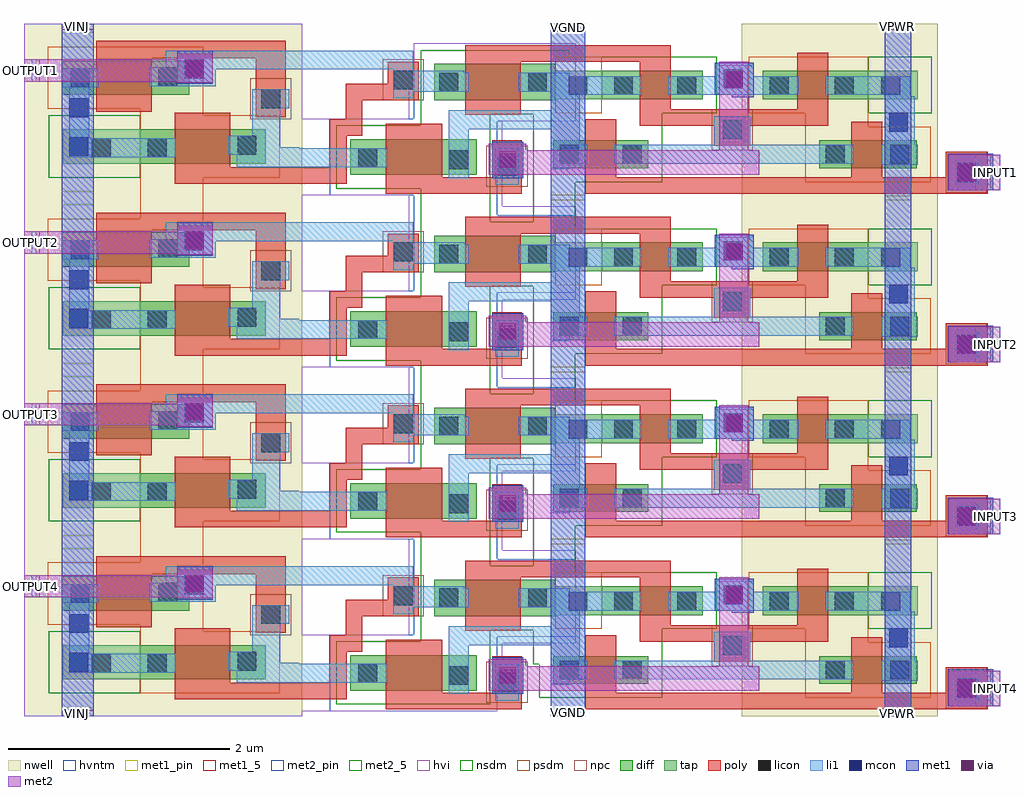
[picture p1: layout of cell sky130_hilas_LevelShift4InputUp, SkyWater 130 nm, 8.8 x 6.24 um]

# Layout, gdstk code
import gdstk
lib = gdstk.Library(unit=1e-6, precision=1e-09)
def R(c, l, rs):  # rectangles x0, y0, x1, y1
    for r in rs: c.add(gdstk.rectangle(r[:2], r[2:], *l))
def A(c, l, x, y, w, h, nx, ny, dx, dy):  # array of equal rectangles
    R(c, l, [(x+i*dx, y+j*dy, x+i*dx+w, y+j*dy+h) for i in range(nx) for j in range(ny)])
nwell = (64, 20)
diff = (65, 20)
tap = (65, 44)
poly = (66, 20)
licon = (66, 44)
li1 = (67, 20)
mcon = (67, 44)
met1_5 = (68, 5)
met1_pin = (68, 16)
met1 = (68, 20)
via = (68, 44)
met2_5 = (69, 5)
met2_pin = (69, 16)
met2 = (69, 20)
hvi = (75, 20)
nsdm = (93, 44)
psdm = (94, 20)
npc = (95, 20)
hvntm = (125, 20)

sky130_hilas_stepupdigit = lib.new_cell('sky130_hilas_StepUpDigitalPart1')
R(sky130_hilas_stepupdigit, nwell, [(6.59,-0.4,8.36,1.19)])
R(sky130_hilas_stepupdigit, diff, [(3.06,-0.17,4.2,0.15), (4.89,-0.11,5.75,0.14), (7.29,-0.11,8.17,0.14), (3.82,0.5,4.91,0.83), (5.33,0.51,6.24,0.77), (6.78,0.51,7.73,0.77)])
R(sky130_hilas_stepupdigit, tap, [(4.91,0.51,5.33,0.77), (7.73,0.51,8.18,0.77)])
R(sky130_hilas_stepupdigit, poly, [(3.38,-0.34,4.61,-0.19), (5.18,-0.34,8.81,-0.19), (2.78,-0.25,3.03,-0.1), (3.38,-0.19,3.89,0.29), (4.34,-0.19,4.61,0.14), (5.18,-0.19,5.46,0.33), (7.58,-0.19,7.86,0.31), (8.43,-0.19,8.81,0.04), (2.87,-0.1,3.03,0.18), (6.34,0.09,6.67,0.27), (2.87,0.18,3.17,0.33), (5.67,0.27,7.37,0.42), (3.02,0.33,3.17,0.5), (4.1,0.37,4.6,0.85), (5.67,0.42,5.95,0.85), (7.09,0.42,7.37,0.93), (3.02,0.5,3.68,0.65), (3.4,0.65,3.68,0.85), (4.1,0.85,5.95,1)])
R(sky130_hilas_stepupdigit, licon, [(8.53,-0.23,8.7,-0.06), (4.39,-0.18,4.56,-0.01), (3.955,-0.12,4.125,0.05), (3.135,-0.1,3.305,0.07), (4.95,-0.07,5.12,0.1), (5.52,-0.07,5.69,0.1), (7.35,-0.07,7.52,0.1), (7.93,-0.07,8.1,0.1), (6.42,0.15,6.59,0.32), (5.03,0.55,5.2,0.72), (5.44,0.55,5.61,0.72), (6.01,0.55,6.18,0.72), (6.845,0.55,7.015,0.72), (7.43,0.55,7.6,0.72), (7.85,0.55,8.02,0.72), (3.865,0.58,4.035,0.75), (4.665,0.58,4.835,0.75), (3.455,0.6,3.625,0.77)])
R(sky130_hilas_stepupdigit, li1, [(8.53,-0.31,8.7,-0.26), (4.37,-0.26,4.58,0.07), (8.51,-0.26,8.73,-0.04), (3.95,-0.2,4.13,0.24), (4.87,-0.12,5.04,-0.07), (2.78,-0.1,3.4,0.07), (7.85,-0.08,8.18,0.1), (4.87,-0.07,5.2,0.1), (5.44,-0.07,7.6,0.1), (8.53,-0.04,8.7,0.02), (4.87,0.1,5.13,0.24), (6.34,0.1,6.67,0.36), (7.88,0.1,8.15,0.54), (3.95,0.24,5.13,0.41), (4.87,0.41,5.13,0.55), (3.45,0.52,3.63,0.58), (7.88,0.54,8.11,0.55), (4.87,0.55,5.69,0.58), (5.93,0.55,7.1,0.72), (7.35,0.55,8.11,0.72), (3.45,0.58,4.13,0.75), (4.58,0.58,5.69,0.72), (4.58,0.72,5.04,0.75), (6.35,0.72,6.7,0.82), (3.45,0.75,4.09,0.77), (3.45,0.77,3.63,0.85)])
R(sky130_hilas_stepupdigit, mcon, [(8.535,-0.235,8.705,-0.065), (7.92,0.22,8.09,0.39), (6.43,0.61,6.6,0.78)])
R(sky130_hilas_stepupdigit, met1_pin, [(4.87,-0.4,5.18,-0.35), (7.88,-0.4,8.12,-0.36), (4.87,1.15,5.18,1.19), (7.88,1.15,8.12,1.19)])
R(sky130_hilas_stepupdigit, met1, [(4.87,-0.4,5.18,1.19), (7.88,-0.4,8.12,1.19), (8.45,-0.31,8.86,0.02), (4.34,-0.2,4.62,0.13), (6.5,0.53,6.7,0.55), (6.35,0.55,6.7,0.84)])
R(sky130_hilas_stepupdigit, via, [(8.545,-0.225,8.695,-0.075), (4.405,-0.105,4.555,0.045), (6.445,0.615,6.595,0.765)])
R(sky130_hilas_stepupdigit, met2_pin, [(8.85,-0.31,8.92,0.01)])
R(sky130_hilas_stepupdigit, met2, [(8.46,-0.31,8.92,0.01), (4.31,-0.17,6.75,0.05), (4.31,0.05,4.65,0.11), (6.39,0.05,6.65,0.85)])
R(sky130_hilas_stepupdigit, hvi, [(2.875,-0.355,4.385,-0.095), (2.875,-0.095,4.43,0.315), (2.875,0.315,5.095,0.335), (3.59,0.335,5.095,0.745), (3.635,0.745,5.095,1.015)])
R(sky130_hilas_stepupdigit, nsdm, [(2.935,-0.295,4.325,0.275), (4.765,-0.235,5.875,0.065), (4.71,0.065,5.875,0.375), (3.695,0.275,4.325,0.375), (3.695,0.375,5.875,0.385), (3.695,0.385,6.365,0.895), (7.73,0.385,8.305,0.895), (3.695,0.895,5.035,0.955)])
R(sky130_hilas_stepupdigit, psdm, [(7.165,-0.235,8.295,0.265), (7.165,0.265,7.73,0.385), (4.91,0.385,5.33,0.895), (6.655,0.385,7.73,0.895)])
R(sky130_hilas_stepupdigit, npc, [(8.43,-0.33,8.8,0.04), (4.29,-0.28,4.66,0.09), (6.32,0.05,6.69,0.42), (3.355,0.5,3.725,0.87)])
R(sky130_hilas_stepupdigit, hvntm, [(2.875,-0.355,4.385,0.315), (2.875,0.315,5.095,0.335), (3.635,0.335,5.095,1.015)])
sky130_hilas_stepupdigit.add(gdstk.Label('Input', (8.885,-0.15), layer=69, texttype=16))
sky130_hilas_stepupdigit.add(gdstk.Label('Vdd', (8,1.17), layer=68, texttype=16))
sky130_hilas_stepupdigit.add(gdstk.Label('Vdd', (8,-0.38), layer=68, texttype=16))
sky130_hilas_stepupdigit.add(gdstk.Label('GND', (5.025,1.17), layer=68, texttype=16))
sky130_hilas_stepupdigit.add(gdstk.Label('GND', (5.025,-0.375), layer=68, texttype=16))

c_sky130_hilas_stepupdigit = lib.new_cell('sky130_hilas_StepUpDigital')
R(c_sky130_hilas_stepupdigit, nwell, [(0.19,-0.4,2.7,1.19)])
R(c_sky130_hilas_stepupdigit, diff, [(1.24,-0.07,2.37,0.24), (0.53,0.55,1.68,0.86)])
R(c_sky130_hilas_stepupdigit, tap, [(0.54,-0.07,1.24,0.24)])
R(c_sky130_hilas_stepupdigit, poly, [(1.55,-0.25,2.85,-0.1), (1.55,-0.1,2.05,0.39), (2.28,0.35,2.55,0.88), (0.84,0.4,1.34,0.88), (0.84,0.88,2.55,1.04)])
R(c_sky130_hilas_stepupdigit, licon, [(0.8,-0.01,0.97,0.16), (1.305,-0.01,1.475,0.16), (2.115,0.01,2.285,0.18), (2.33,0.43,2.5,0.6), (0.61,0.62,0.78,0.79), (1.4,0.63,1.57,0.8)])
R(c_sky130_hilas_stepupdigit, li1, [(2.11,-0.1,2.85,0.01), (0.6,-0.01,1.56,0.16), (2.03,0.01,2.85,0.07), (2.03,0.07,2.67,0.08), (2.03,0.08,2.5,0.18), (0.6,0.16,0.78,0.62), (2.25,0.18,2.5,0.43), (2.25,0.43,2.58,0.6), (0.53,0.62,0.86,0.79), (1.32,0.63,1.92,0.78), (1.32,0.78,3.7,0.8), (1.47,0.8,3.7,0.95)])
R(c_sky130_hilas_stepupdigit, mcon, [(0.6,0,0.77,0.17), (0.6,0.35,0.77,0.52), (1.64,0.7,1.81,0.87)])
R(c_sky130_hilas_stepupdigit, met1_pin, [(0.53,-0.4,0.82,-0.32), (0.53,1.11,0.82,1.19)])
R(c_sky130_hilas_stepupdigit, met1, [(0.53,-0.4,0.82,1.19), (1.57,0.65,1.89,0.95)])
R(c_sky130_hilas_stepupdigit, via, [(1.655,0.715,1.805,0.865)])
R(c_sky130_hilas_stepupdigit, met2_pin, [(0.26,0.67,0.33,0.87)])
R(c_sky130_hilas_stepupdigit, met2, [(1.57,0.66,1.89,0.67), (0.26,0.67,1.89,0.87), (1.57,0.87,1.89,0.92)])
R(c_sky130_hilas_stepupdigit, hvi, [(0.19,-0.4,2.7,-0.355), (0.19,-0.355,2.945,0.335), (0.19,0.335,2.7,1.19)])
R(c_sky130_hilas_stepupdigit, nsdm, [(0.415,-0.195,1.24,0.365)])
R(c_sky130_hilas_stepupdigit, psdm, [(1.24,-0.195,2.495,0.365), (1.24,0.365,1.805,0.425), (0.405,0.425,1.805,0.985)])
R(c_sky130_hilas_stepupdigit, npc, [(2.23,0.33,2.6,0.7)])
c_sky130_hilas_stepupdigit.add(gdstk.Reference(sky130_hilas_stepupdigit, (0.07,0)))
c_sky130_hilas_stepupdigit.add(gdstk.Label('Output', (0.295,0.77), layer=69, texttype=16))
c_sky130_hilas_stepupdigit.add(gdstk.Label('Vinj', (0.675,1.15), layer=68, texttype=16))
c_sky130_hilas_stepupdigit.add(gdstk.Label('Vinj', (0.675,-0.36), layer=68, texttype=16))

sky130_hilas_levelshift4 = lib.new_cell('sky130_hilas_LevelShift4InputUp')
R(sky130_hilas_levelshift4, met1_5, [(0.04,-1.02,0.33,-0.97), (4.45,-1.02,4.76,-0.96), (7.46,-1.02,7.7,-0.97), (4.45,5.15,4.76,5.22), (0.04,5.17,0.33,5.22), (7.46,5.17,7.7,5.22)])
R(sky130_hilas_levelshift4, met1, [(0.04,-1.02,0.33,-0.97), (4.45,-1.02,4.76,-0.96), (7.46,-1.02,7.7,-0.97), (4.45,5.15,4.76,5.22), (0.04,5.17,0.33,5.22), (7.46,5.17,7.7,5.22)])
A(sky130_hilas_levelshift4, met2_5, 8.41, -0.93, 0.09, 0.32, 1, 4, 0, 1.55)
A(sky130_hilas_levelshift4, met2_5, -0.3, 0.05, 0.11, 0.2, 1, 4, 0, 1.55)
A(sky130_hilas_levelshift4, met2, 8.41, -0.93, 0.09, 0.32, 1, 4, 0, 1.55)
A(sky130_hilas_levelshift4, met2, -0.3, 0.05, 0.11, 0.2, 1, 4, 0, 1.55)
A(sky130_hilas_levelshift4, hvi, 4.01, -0.365, 0.665, 0.06, 1, 3, 0, 1.55)
A(sky130_hilas_levelshift4, hvi, 3.17, 0.125, 0.045, 0.27, 1, 3, 0, 1.55)
A(sky130_hilas_levelshift4, hvi, 3.17, 0.395, 1.505, 0.08, 1, 3, 0, 1.55)
A(sky130_hilas_levelshift4, hvi, 3.17, 0.475, 0.84, 0.1, 1, 3, 0, 1.55)
A(sky130_hilas_levelshift4, hvi, 3.965, 0.575, 0.045, 0.26, 1, 3, 0, 1.55)
A(sky130_hilas_levelshift4, nsdm, 4.615, 0.275, 0.055, 0.06, 1, 3, 0, 1.55)
A(sky130_hilas_levelshift4, nsdm, 3.275, 0.335, 0.63, 0.3, 1, 3, 0, 1.55)
A(sky130_hilas_levelshift4, nsdm, 4.29, 0.335, 0.38, 0.36, 1, 3, 0, 1.55)
A(sky130_hilas_levelshift4, nsdm, 4.29, 0.695, 0.055, 0.3, 1, 3, 0, 1.55)
A(sky130_hilas_levelshift4, psdm, 0.75, 0.365, 0.565, 0.37, 1, 3, 0, 1.55)
A(sky130_hilas_levelshift4, hvntm, 3.215, 0.395, 0.75, 0.18, 1, 3, 0, 1.55)
sky130_hilas_levelshift4.add(gdstk.Reference(c_sky130_hilas_stepupdigit, (-0.49,-0.62)))
sky130_hilas_levelshift4.add(gdstk.Reference(c_sky130_hilas_stepupdigit, (-0.49,0.93)))
sky130_hilas_levelshift4.add(gdstk.Reference(c_sky130_hilas_stepupdigit, (-0.49,2.48)))
sky130_hilas_levelshift4.add(gdstk.Reference(c_sky130_hilas_stepupdigit, (-0.49,4.03)))
sky130_hilas_levelshift4.add(gdstk.Label('INPUT1', (8.455,3.88), layer=69, texttype=5))
sky130_hilas_levelshift4.add(gdstk.Label('INPUT2', (8.455,2.33), layer=69, texttype=5))
sky130_hilas_levelshift4.add(gdstk.Label('INPUT3', (8.455,0.78), layer=69, texttype=5))
sky130_hilas_levelshift4.add(gdstk.Label('INPUT4', (8.455,-0.77), layer=69, texttype=5))
sky130_hilas_levelshift4.add(gdstk.Label('VPWR', (7.58,5.195), layer=68, texttype=5))
sky130_hilas_levelshift4.add(gdstk.Label('VPWR', (7.58,-0.995), layer=68, texttype=5))
sky130_hilas_levelshift4.add(gdstk.Label('VINJ', (0.185,5.195), layer=68, texttype=5))
sky130_hilas_levelshift4.add(gdstk.Label('VINJ', (0.185,-0.995), layer=68, texttype=5))
sky130_hilas_levelshift4.add(gdstk.Label('OUTPUT1', (-0.245,4.8), layer=69, texttype=5))
sky130_hilas_levelshift4.add(gdstk.Label('OUTPUT2', (-0.245,3.25), layer=69, texttype=5))
sky130_hilas_levelshift4.add(gdstk.Label('OUTPUT3', (-0.245,1.7), layer=69, texttype=5))
sky130_hilas_levelshift4.add(gdstk.Label('OUTPUT4', (-0.245,0.15), layer=69, texttype=5))
sky130_hilas_levelshift4.add(gdstk.Label('VGND', (4.605,5.185), layer=68, texttype=5))
sky130_hilas_levelshift4.add(gdstk.Label('VGND', (4.605,-0.99), layer=68, texttype=5))

lib.write_gds('sky130_hilas_LevelShift4InputUp.gds')
